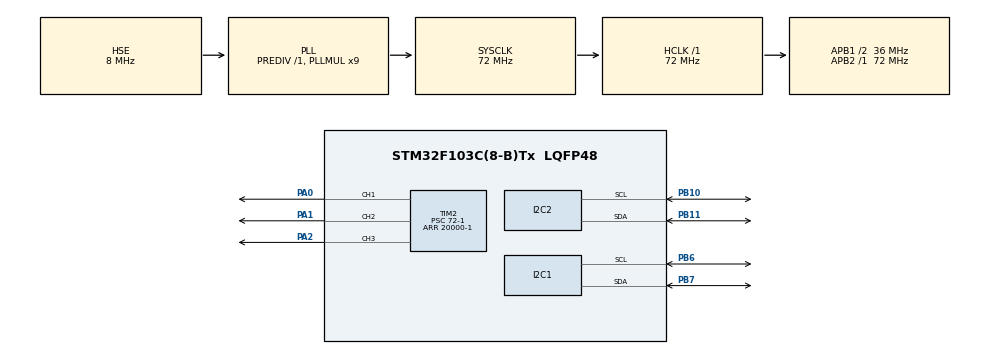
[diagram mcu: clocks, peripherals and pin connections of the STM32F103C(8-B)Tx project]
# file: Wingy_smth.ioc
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I2C1.I2C_Mode=I2C_Fast
Mcu.Family=STM32F1
Mcu.Name=STM32F103C(8-B)Tx
Mcu.Package=LQFP48
NVIC.PriorityGroup=NVIC_PRIORITYGROUP_4
NVIC.TIM3_IRQn=true\:0\:0\:false\:false\:true\:true
NVIC.TIM4_IRQn=true\:0\:0\:false\:false\:true\:true
PA0-WKUP.Signal=S_TIM2_CH1_ETR
PA1.Signal=S_TIM2_CH2
PA13.Mode=Serial_Wire
PA13.Signal=SYS_JTMS-SWDIO
PA14.Mode=Serial_Wire
PA14.Signal=SYS_JTCK-SWCLK
PA2.Signal=S_TIM2_CH3
PB10.Mode=I2C
PB10.Signal=I2C2_SCL
PB11.Mode=I2C
PB11.Signal=I2C2_SDA
PB6.Mode=I2C
PB6.Signal=I2C1_SCL
PB7.Mode=I2C
PB7.Signal=I2C1_SDA
PD0-OSC_IN.Mode=HSE-External-Oscillator
PD0-OSC_IN.Signal=RCC_OSC_IN
PD1-OSC_OUT.Mode=HSE-External-Oscillator
PD1-OSC_OUT.Signal=RCC_OSC_OUT
ProjectManager.HeapSize=0x200
ProjectManager.StackSize=0x400
ProjectManager.TargetToolchain=TrueSTUDIO
RCC.AHBFreq_Value=72000000
RCC.APB1CLKDivider=RCC_HCLK_DIV2
RCC.APB1Freq_Value=36000000
RCC.APB1TimFreq_Value=72000000
RCC.APB2Freq_Value=72000000
RCC.APB2TimFreq_Value=72000000
RCC.HCLKFreq_Value=72000000
RCC.PLLMUL=RCC_PLL_MUL9
RCC.PLLSourceVirtual=RCC_PLLSOURCE_HSE
RCC.SYSCLKFreq_VALUE=72000000
RCC.SYSCLKSource=RCC_SYSCLKSOURCE_PLLCLK
RCC.USBFreq_Value=72000000
SH.S_TIM2_CH1_ETR.0=TIM2_CH1,PWM Generation1 CH1
SH.S_TIM2_CH2.0=TIM2_CH2,PWM Generation2 CH2
SH.S_TIM2_CH3.0=TIM2_CH3,PWM Generation3 CH3
TIM2.AutoReloadPreload=TIM_AUTORELOAD_PRELOAD_ENABLE
TIM2.Channel-PWM\ Generation1\ CH1=TIM_CHANNEL_1
TIM2.Channel-PWM\ Generation2\ CH2=TIM_CHANNEL_2
TIM2.Channel-PWM\ Generation3\ CH3=TIM_CHANNEL_3
TIM2.Period=20000-1
TIM2.Prescaler=72-1
TIM2.Pulse-PWM\ Generation1\ CH1=1500
TIM2.Pulse-PWM\ Generation2\ CH2=1500
TIM2.Pulse-PWM\ Generation3\ CH3=1500
TIM3.Period=1000-1
TIM3.Prescaler=72-1
TIM4.Period=1000-1
TIM4.Prescaler=720-1
VP_TIM2_VS_ClockSourceINT.Mode=Internal
VP_TIM3_VS_ClockSourceINT.Mode=Internal
VP_TIM4_VS_ClockSourceINT.Mode=Internal
board=custom

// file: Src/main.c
/* USER CODE BEGIN Header */
/**
  ******************************************************************************
  * @file           : main.c
  * @brief          : Main program body
  ******************************************************************************
  ** This notice applies to any and all portions of this file
  * that are not between comment pairs USER CODE BEGIN and
  * USER CODE END. Other portions of this file, whether
  * inserted by the user or by software development tools
  * are owned by their respective copyright owners.
  *
  * COPYRIGHT(c) 2019 STMicroelectronics
  *
  * Redistribution and use in source and binary forms, with or without modification,
  * are permitted provided that the following conditions are met:
  *   1. Redistributions of source code must retain the above copyright notice,
  *      this list of conditions and the following disclaimer.
  *   2. Redistributions in binary form must reproduce the above copyright notice,
  *      this list of conditions and the following disclaimer in the documentation
  *      and/or other materials provided with the distribution.
  *   3. Neither the name of STMicroelectronics nor the names of its contributors
  *      may be used to endorse or promote products derived from this software
  *      without specific prior written permission.
  *
  * THIS SOFTWARE IS PROVIDED BY THE COPYRIGHT HOLDERS AND CONTRIBUTORS "AS IS"
  * AND ANY EXPRESS OR IMPLIED WARRANTIES, INCLUDING, BUT NOT LIMITED TO, THE
  * IMPLIED WARRANTIES OF MERCHANTABILITY AND FITNESS FOR A PARTICULAR PURPOSE ARE
  * DISCLAIMED. IN NO EVENT SHALL THE COPYRIGHT HOLDER OR CONTRIBUTORS BE LIABLE
  * FOR ANY DIRECT, INDIRECT, INCIDENTAL, SPECIAL, EXEMPLARY, OR CONSEQUENTIAL
  * DAMAGES (INCLUDING, BUT NOT LIMITED TO, PROCUREMENT OF SUBSTITUTE GOODS OR
  * SERVICES; LOSS OF USE, DATA, OR PROFITS; OR BUSINESS INTERRUPTION) HOWEVER
  * CAUSED AND ON ANY THEORY OF LIABILITY, WHETHER IN CONTRACT, STRICT LIABILITY,
  * OR TORT (INCLUDING NEGLIGENCE OR OTHERWISE) ARISING IN ANY WAY OUT OF THE USE
  * OF THIS SOFTWARE, EVEN IF ADVISED OF THE POSSIBILITY OF SUCH DAMAGE.
  *
  ******************************************************************************
  */
/* USER CODE END Header */

#include "main.h"
#include "i2c.h"
#include "tim.h"
#include "gpio.h"

/* USER CODE BEGIN Includes */
#include"Accel.h"
#include"ssd1306.h"
#include"fonts.h"
#include"flightcontrol.h"
#include"Usart.h"
/* USER CODE END Includes */

/* USER CODE BEGIN PV */
uint16_t counter;
HAL_StatusTypeDef status;
 int8_t xval, yval, zval;
 int16_t xtemp, ytemp, ztemp;
 int16_t xdata, ydata, zdata;
 int16_t xGyro, yGyro, zGyro;
 int fGX_Cal, fGY_Cal, fGZ_Cal;
int16_t YGf, XGf, ZGf;
int16_t YG, XG, ZG;
int8_t buffer_str[22];
char data;
int16_t dMThX, dMThY, dMThZ;
unsigned char str[7];
 uint8_t flag;
 uint16_t val1, val2, val3, val;
/* USER CODE END PV */

void SystemClock_Config(void);
/* USER CODE BEGIN PFP */
void convertToChar(int16_t);
/* USER CODE END PFP */

int main(void)
{

  /* MCU Configuration--------------------------------------------------------*/

  /* Reset of all peripherals, Initializes the Flash interface and the Systick. */
  HAL_Init();

  /* Configure the system clock */
  SystemClock_Config();

  /* Initialize all configured peripherals */
  MX_GPIO_Init();
  MX_TIM2_Init();
  MX_TIM3_Init();
  MX_I2C1_Init();
  MX_TIM4_Init();
  MX_I2C2_Init();
  /* USER CODE BEGIN 2 */
  Accel_ini();
  GyroCalibrate();
   deriveGyro();
  Accel_ReadAcc();
  SSD1306_Init();
  HAL_TIM_PWM_Start(&htim2,  TIM_CHANNEL_1);
  HAL_TIM_PWM_Start(&htim2,  TIM_CHANNEL_2);
  HAL_TIM_PWM_Start(&htim2,  TIM_CHANNEL_3);
  HAL_TIM_Base_Start_IT(&htim3);
  HAL_TIM_Base_Start_IT(&htim4);
XGf = YGf = ZGf = 0;
Fuzzy_Init();

uart_init();
//data = "%";
	//	  send_to_uart( data);
  /* USER CODE END 2 */

  /* Infinite loop */
  /* USER CODE BEGIN WHILE */
  while (1)
  {
	  if(flag)
	  {
	  flag = 0;
		  ReadGyro();
		  Accel_ReadAcc();
		  selfStabilizing();
		  write_CRC();
		  data = buffer_str[0];
		  send_to_uart(data);
		  convertToChar(xval);
		 SSD1306_GotoXY(0, 20);
		 SSD1306_Puts(str, &Font_7x10, SSD1306_COLOR_WHITE);
		 convertToChar(yval);
		 SSD1306_GotoXY(80, 20);
		 SSD1306_Puts(str, &Font_7x10, SSD1306_COLOR_WHITE);
		 convertToChar(zval);
		 SSD1306_GotoXY(45, 30);
		 SSD1306_Puts(str, &Font_7x10, SSD1306_COLOR_WHITE);
		 SSD1306_UpdateScreen();
	  }
    /* USER CODE END WHILE */

  }
}

void SystemClock_Config(void)
{
  RCC_OscInitTypeDef RCC_OscInitStruct = {0};
  RCC_ClkInitTypeDef RCC_ClkInitStruct = {0};

  /**Initializes the CPU, AHB and APB busses clocks
  */
  RCC_OscInitStruct.OscillatorType = RCC_OSCILLATORTYPE_HSE;
  RCC_OscInitStruct.HSEState = RCC_HSE_ON;
  RCC_OscInitStruct.HSEPredivValue = RCC_HSE_PREDIV_DIV1;
  RCC_OscInitStruct.HSIState = RCC_HSI_ON;
  RCC_OscInitStruct.PLL.PLLState = RCC_PLL_ON;
  RCC_OscInitStruct.PLL.PLLSource = RCC_PLLSOURCE_HSE;
  RCC_OscInitStruct.PLL.PLLMUL = RCC_PLL_MUL9;
  if (HAL_RCC_OscConfig(&RCC_OscInitStruct) != HAL_OK)
  {
    Error_Handler();
  }
  /**Initializes the CPU, AHB and APB busses clocks
  */
  RCC_ClkInitStruct.ClockType = RCC_CLOCKTYPE_HCLK|RCC_CLOCKTYPE_SYSCLK
                              |RCC_CLOCKTYPE_PCLK1|RCC_CLOCKTYPE_PCLK2;
  RCC_ClkInitStruct.SYSCLKSource = RCC_SYSCLKSOURCE_PLLCLK;
  RCC_ClkInitStruct.AHBCLKDivider = RCC_SYSCLK_DIV1;
  RCC_ClkInitStruct.APB1CLKDivider = RCC_HCLK_DIV2;
  RCC_ClkInitStruct.APB2CLKDivider = RCC_HCLK_DIV1;

  if (HAL_RCC_ClockConfig(&RCC_ClkInitStruct, FLASH_LATENCY_2) != HAL_OK)
  {
    Error_Handler();
  }
}

/* USER CODE BEGIN 4 */
void convertToChar(int16_t data)
{
	int16_t number = data;
	uint8_t neg = 0;
	if(number < 0)
	{
		number = -number;
		neg = 1;
	}
	for(uint8_t i = 6; i --> 0 ;)
	{
		str[i] = (number % 10) + (unsigned char)'0';
		number /= 10;
	}
	if(neg)
	{
for(uint8_t j = 0; j < 6; j++)
{
	if(str[j + 1] != 0)
	str[j] = '-';
	break;
	}
neg = 0;
	}
}
/* USER CODE END 4 */

void Error_Handler(void)
{
}

/************************ (C) COPYRIGHT STMicroelectronics *****END OF FILE****/
